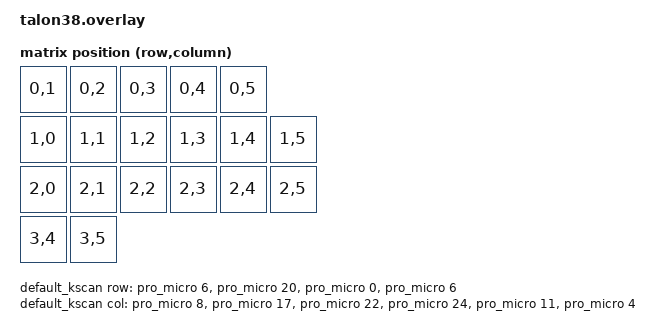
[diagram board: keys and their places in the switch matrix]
#include <dt-bindings/zmk/matrix_transform.h>

/ {
    chosen {
        zmk,kscan = &default_kscan;
        zmk,matrix_transform = &default_transform;
    };
    default_kscan: kscan {
        compatible = "zmk,kscan-gpio-matrix";
        label = "default_kscan";
        diode-direction = "row2col";

        row-gpios = <&pro_micro 6 (GPIO_ACTIVE_HIGH )>,
                    <&pro_micro 20 (GPIO_ACTIVE_HIGH)>,
                    <&pro_micro 0 (GPIO_ACTIVE_HIGH )>,
                    <&pro_micro 6 (GPIO_ACTIVE_HIGH)>;
        col-gpios = <&pro_micro 8 (GPIO_ACTIVE_HIGH| GPIO_PULL_DOWN)>,
                    <&pro_micro 17 (GPIO_ACTIVE_HIGH | GPIO_PULL_DOWN)>,
                    <&pro_micro 22 (GPIO_ACTIVE_HIGH | GPIO_PULL_DOWN)>,
                    <&pro_micro 24 (GPIO_ACTIVE_HIGH | GPIO_PULL_DOWN)>,
                    <&pro_micro 11 (GPIO_ACTIVE_HIGH | GPIO_PULL_DOWN)>,
                    <&pro_micro 4 (GPIO_ACTIVE_HIGH | GPIO_PULL_DOWN)>;


                    

    };

    default_transform: matrix_transform {
        compatible = "zmk,matrix-transform";
        label = "default_transform";
        rows = <4>;
        cols = <6>;
        map = <
            RC(0,1) RC(0,2) RC(0,3) RC(0,4) RC(0,5) 
            RC(1,0) RC(1,1) RC(1,2) RC(1,3) RC(1,4) RC(1,5)
            RC(2,0) RC(2,1) RC(2,2) RC(2,3) RC(2,4) RC(2,5)
            RC(3,4) RC(3,5) 
        >;
    };
}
